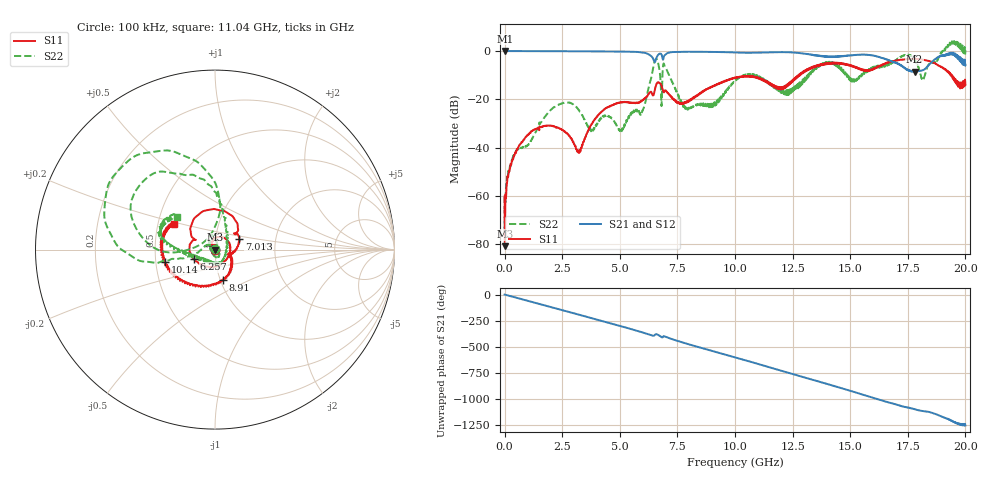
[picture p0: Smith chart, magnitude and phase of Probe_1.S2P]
# Hz S RI R 50.00
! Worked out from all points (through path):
!   5000 points, 100 kHz to 20 GHz, reference 50 ohm
!   highest |S21| = 0.00 dB at 4.101 MHz (marker M1); lowest = -8.6 dB at 17.8 GHz (marker M2)
!   group delay of S21, straight-line fit = 173 ps
!   lowest |S11| = -80.9 dB at 12.1 MHz (marker M3), VSWR 1.00, Z = 50 + j0.00835 ohm
!   |S11| at or under -10 dB: start of sweep to 12.77 GHz; 12.79313 GHz to 12.81066 GHz (17.53 MHz wide, 0.137 % of centre); 19.39 GHz to end of sweep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
!   |S22| runs from -75.3 to 4.4 dB; largest |S21 - S12| = 0
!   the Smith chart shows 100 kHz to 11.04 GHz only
!   S11 on the Smith chart (normalised r, x): 100 kHz: 1.00, -0.00; 6.257 GHz: 0.79, -0.08; 7.013 GHz: 1.30, +0.15; 8.91 GHz: 1.03, -0.36; 10.14 GHz: 0.56, -0.08; 11.04 GHz: 0.60, +0.19
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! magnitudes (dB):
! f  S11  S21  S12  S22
! 100 kHz  -60.4  0.0  0.0  -60.0
! 4.101 MHz  -74.6  0.0  0.0  -75.3
! 12.1 MHz  -80.9  0.0  0.0  -65.8
! 444.2 MHz  -42.8  0.0  0.0  -42.2
! 1.24 GHz  -32.7  0.0  0.0  -35.5
! 2.337 GHz  -31.8  -0.1  -0.1  -22.2
! 3.337 GHz  -40.3  -0.1  -0.1  -26.1
! 5.045 GHz  -21.3  -0.2  -0.2  -33.4
! 6.257 GHz  -17.8  -1.4  -1.4  -14.9
! 6.669 GHz  -12.9  -1.5  -1.5  -5.2
! 7.013 GHz  -16.7  -1.1  -1.1  -7.3
! 7.806 GHz  -21.5  -0.3  -0.3  -23.6
! 8.91 GHz  -15.1  -0.4  -0.4  -23.2
! 10 GHz  -11.1  -0.6  -0.6  -12.5
! 10.14 GHz  -10.8  -0.6  -0.6  -11.3
! 11.04 GHz  -11.3  -0.6  -0.6  -11.1
! 12.29 GHz  -14.4  -0.5  -0.5  -18.2
! 13.33 GHz  -6.6  -1.6  -1.6  -8.6
! 16.67 GHz  -4.7  -3.7  -3.7  -5.2
! 17.8 GHz  -3.2  -8.6  -8.6  -3.5
! 18.16 GHz  -3.6  -7.9  -7.9  -11.7
! 20 GHz  -14.0  -5.6  -5.6  0.4
